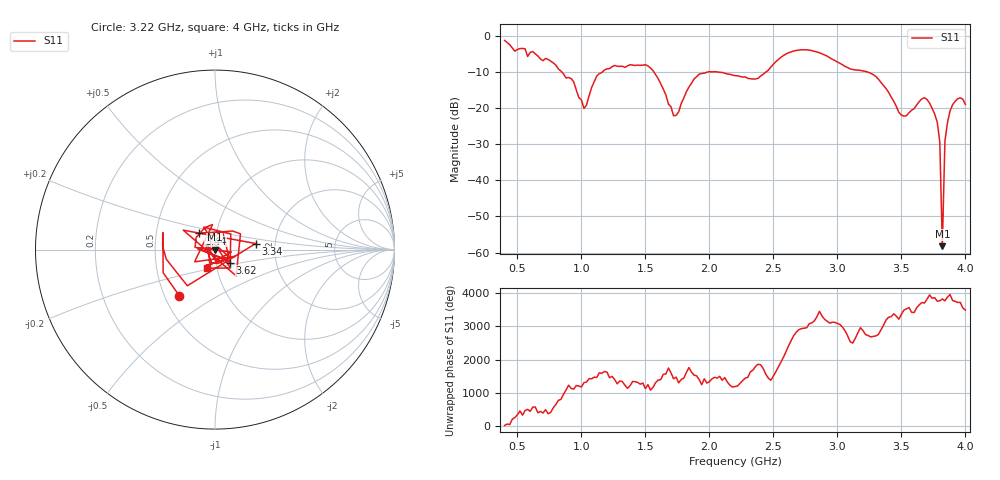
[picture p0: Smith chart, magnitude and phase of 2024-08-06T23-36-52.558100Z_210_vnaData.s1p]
!Created with skrf (http://scikit-rf.org).
# Hz S RI R 50.0
!freq ReS11 ImS11
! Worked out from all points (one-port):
!   181 points, 400 MHz to 4 GHz, reference 50 ohm
!   lowest |S11| = -58.2 dB at 3.82 GHz (marker M1), VSWR 1.00, Z = 49.9 - j0.0762 ohm
!   |S11| at or under -10 dB: 1.568 GHz to 1.981 GHz (413.3 MHz wide, 23.3 % of centre); 2.078 GHz to 2.439 GHz (360.8 MHz wide, 16 % of centre); 3.24 GHz to end of sweep (the widest 3 of 4)
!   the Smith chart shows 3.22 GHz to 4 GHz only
!   S11 on the Smith chart (normalised r, x): 3.22 GHz: 0.59, -0.34; 3.34 GHz: 1.58, +0.11; 3.44 GHz: 0.83, +0.15; 3.62 GHz: 1.17, -0.17; 4 GHz: 0.90, -0.19
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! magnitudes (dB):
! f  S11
! 400 MHz  -1.2
! 860 MHz  -10.4
! 940 MHz  -12.7
! 1.02 GHz  -20.0
! 1.12 GHz  -11.1
! 1.3 GHz  -8.4
! 1.52 GHz  -8.3
! 1.72 GHz  -22.1
! 1.76 GHz  -21.0
! 1.92 GHz  -10.5
! 2.2 GHz  -11.0
! 2.38 GHz  -11.7
! 2.66 GHz  -4.1
! 3.1 GHz  -9.1
! 3.22 GHz  -9.8
! 3.34 GHz  -12.8
! 3.44 GHz  -18.0
! 3.5 GHz  -21.9
! 3.56 GHz  -21.2
! 3.62 GHz  -19.0
! 3.7 GHz  -17.6
! 3.78 GHz  -23.8
! 3.8 GHz  -29.3
! 3.82 GHz  -58.2
! 3.84 GHz  -29.1
! 3.86 GHz  -24.0
! 3.92 GHz  -18.1
! 4 GHz  -19.0
